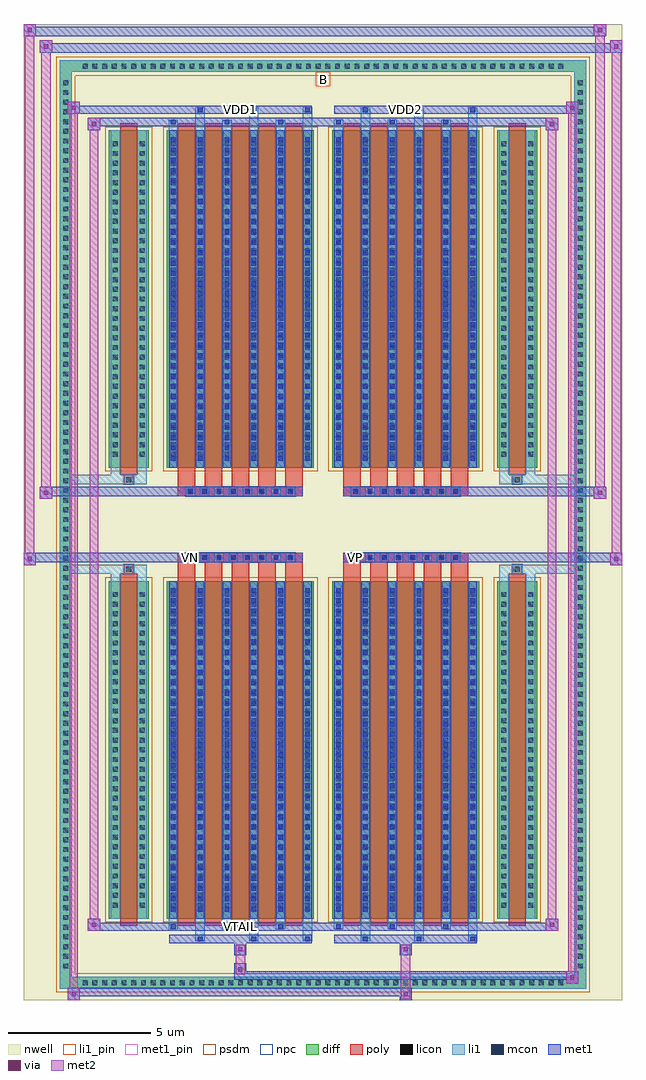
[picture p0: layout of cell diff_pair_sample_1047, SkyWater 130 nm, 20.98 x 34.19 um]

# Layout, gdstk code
import gdstk
lib = gdstk.Library(unit=1e-6, precision=5e-09)
def R(c, l, rs):  # rectangles x0, y0, x1, y1
    for r in rs: c.add(gdstk.rectangle(r[:2], r[2:], *l))
def A(c, l, x, y, w, h, nx, ny, dx, dy):  # array of equal rectangles
    R(c, l, [(x+i*dx, y+j*dy, x+i*dx+w, y+j*dy+h) for i in range(nx) for j in range(ny)])
def P(c, l, *ps):  # polygons
    for p in ps: c.add(gdstk.Polygon(p, *l))
nwell = (64, 20)
diff = (65, 20)
poly = (66, 20)
licon = (66, 44)
li1_pin = (67, 16)
li1 = (67, 20)
mcon = (67, 44)
met1_pin = (68, 16)
met1 = (68, 20)
via = (68, 44)
met2 = (69, 20)
psdm = (94, 20)
npc = (95, 20)

diff_pair_sample_1047 = lib.new_cell('diff_pair_sample_1047')
R(diff_pair_sample_1047, nwell, [(-10.49,-16.66,10.49,17.53), (-7.81,-14.85,-0.01,-0.795), (0.01,-14.85,7.81,-0.795), (-7.81,0.795,-0.01,14.85), (0.01,0.795,7.81,14.85)])
A(diff_pair_sample_1047, diff, -8.535, -16.26, 0.41, 0.41, 50, 2, 0.34, 32.11)
A(diff_pair_sample_1047, diff, -9.22, -15.675, 0.41, 0.41, 1, 92, 0, 0.34)
A(diff_pair_sample_1047, diff, 8.81, -15.675, 0.41, 0.41, 1, 92, 0, 0.34)
R(diff_pair_sample_1047, diff, [(-8.535,-16.26,8.535,-15.85), (-9.22,-15.675,-8.81,15.675), (8.81,-15.675,9.22,15.675), (-7.5,-13.805,-6.11,-1.985), (-5.47,-13.805,-0.32,-1.985), (0.32,-13.805,5.47,-1.985), (6.11,-13.805,7.5,-1.985), (-7.5,1.985,-6.11,13.805), (-5.47,1.985,-0.32,13.805), (0.32,1.985,5.47,13.805), (6.11,1.985,7.5,13.805), (-8.535,15.85,8.535,16.26)])
P(diff_pair_sample_1047, diff, [(9.22,16.26),(-9.22,16.26),(-9.22,-15.85),(-8.81,-15.85),(-8.81,15.85),(8.81,15.85),(8.81,-15.85),(-8.81,-15.85),(-9.22,-15.85),(-9.22,-16.26),(9.22,-16.26)])
A(diff_pair_sample_1047, poly, -5.08, -14.055, 0.61, 12.32, 5, 2, 0.94, 15.79)
A(diff_pair_sample_1047, poly, 0.71, -14.055, 0.61, 12.32, 5, 2, 0.94, 15.79)
A(diff_pair_sample_1047, poly, -5.08, -1.735, 0.61, 0.41, 5, 2, 0.94, 3.06)
A(diff_pair_sample_1047, poly, 0.71, -1.735, 0.61, 0.41, 5, 2, 0.94, 3.06)
A(diff_pair_sample_1047, poly, -4.81, -1.325, 0.33, 0.33, 8, 2, 0.5, 2.32)
A(diff_pair_sample_1047, poly, 0.98, -1.325, 0.33, 0.33, 8, 2, 0.5, 2.32)
R(diff_pair_sample_1047, poly, [(-7.11,-14.055,-6.5,-1.735), (6.5,-14.055,7.11,-1.735), (-6.97,-1.735,-6.64,-1.405), (-6.97,-1.735,-6.64,-1.405), (6.64,-1.735,6.97,-1.405), (6.64,-1.735,6.97,-1.405), (-5.08,-1.325,-0.71,-0.995), (0.71,-1.325,5.08,-0.995), (-5.08,0.995,-0.71,1.325), (0.71,0.995,5.08,1.325), (-6.97,1.405,-6.64,1.735), (-6.97,1.405,-6.64,1.735), (6.64,1.405,6.97,1.735), (6.64,1.405,6.97,1.735), (-7.11,1.735,-6.5,14.055), (6.5,1.735,7.11,14.055)])
A(diff_pair_sample_1047, licon, -8.415, -16.14, 0.17, 0.17, 50, 2, 0.34, 32.11)
A(diff_pair_sample_1047, licon, -9.1, -15.555, 0.17, 0.17, 1, 92, 0, 0.34)
A(diff_pair_sample_1047, licon, 8.93, -15.555, 0.17, 0.17, 1, 92, 0, 0.34)
A(diff_pair_sample_1047, licon, -7.36, -13.42, 0.17, 0.17, 1, 33, 0, 0.34)
A(diff_pair_sample_1047, licon, -6.42, -13.42, 0.17, 0.17, 1, 33, 0, 0.34)
A(diff_pair_sample_1047, licon, -5.33, -13.42, 0.17, 0.17, 6, 33, 0.94, 0.34)
A(diff_pair_sample_1047, licon, 0.46, -13.42, 0.17, 0.17, 6, 33, 0.94, 0.34)
A(diff_pair_sample_1047, licon, 6.25, -13.42, 0.17, 0.17, 1, 33, 0, 0.34)
A(diff_pair_sample_1047, licon, 7.19, -13.42, 0.17, 0.17, 1, 33, 0, 0.34)
A(diff_pair_sample_1047, licon, -4.73, -1.245, 0.17, 0.17, 8, 2, 0.5, 2.32)
A(diff_pair_sample_1047, licon, 1.06, -1.245, 0.17, 0.17, 8, 2, 0.5, 2.32)
A(diff_pair_sample_1047, licon, -7.36, 2.37, 0.17, 0.17, 1, 33, 0, 0.34)
A(diff_pair_sample_1047, licon, -6.42, 2.37, 0.17, 0.17, 1, 33, 0, 0.34)
A(diff_pair_sample_1047, licon, -5.33, 2.37, 0.17, 0.17, 6, 33, 0.94, 0.34)
A(diff_pair_sample_1047, licon, 0.46, 2.37, 0.17, 0.17, 6, 33, 0.94, 0.34)
A(diff_pair_sample_1047, licon, 6.25, 2.37, 0.17, 0.17, 1, 33, 0, 0.34)
A(diff_pair_sample_1047, licon, 7.19, 2.37, 0.17, 0.17, 1, 33, 0, 0.34)
R(diff_pair_sample_1047, licon, [(-6.89,-1.655,-6.72,-1.485), (6.72,-1.655,6.89,-1.485), (-6.89,1.485,-6.72,1.655), (6.72,1.485,6.89,1.655)])
R(diff_pair_sample_1047, li1_pin, [(-0.25,15.35,0.25,15.85)])
A(diff_pair_sample_1047, li1, -8.495, -16.22, 0.33, 0.33, 50, 2, 0.34, 32.11)
A(diff_pair_sample_1047, li1, -9.18, -15.635, 0.33, 0.33, 1, 92, 0, 0.34)
A(diff_pair_sample_1047, li1, 8.85, -15.635, 0.33, 0.33, 1, 92, 0, 0.34)
A(diff_pair_sample_1047, li1, -4.47, -14.61, 0.33, 0.805, 3, 2, 1.88, 28.415)
A(diff_pair_sample_1047, li1, -4.39, -14.61, 0.17, 0.17, 3, 2, 1.88, 29.05)
A(diff_pair_sample_1047, li1, 1.32, -14.61, 0.33, 0.805, 3, 2, 1.88, 28.415)
A(diff_pair_sample_1047, li1, 1.4, -14.61, 0.17, 0.17, 3, 2, 1.88, 29.05)
A(diff_pair_sample_1047, li1, -5.41, -14.18, 0.33, 0.375, 3, 2, 1.88, 27.985)
A(diff_pair_sample_1047, li1, -5.33, -14.18, 0.17, 0.17, 3, 2, 1.88, 28.19)
A(diff_pair_sample_1047, li1, 0.38, -14.18, 0.33, 0.375, 3, 2, 1.88, 27.985)
A(diff_pair_sample_1047, li1, 0.46, -14.18, 0.17, 0.17, 3, 2, 1.88, 28.19)
A(diff_pair_sample_1047, li1, -5.41, -13.805, 0.33, 11.82, 6, 2, 0.94, 15.79)
A(diff_pair_sample_1047, li1, 0.38, -13.805, 0.33, 11.82, 6, 2, 0.94, 15.79)
A(diff_pair_sample_1047, li1, -5.33, -13.56, 0.17, 0.17, 6, 32, 0.94, 0.36)
A(diff_pair_sample_1047, li1, -5.33, -13.56, 0.17, 11.33, 6, 2, 0.94, 15.79)
A(diff_pair_sample_1047, li1, 0.46, -13.56, 0.17, 0.17, 6, 32, 0.94, 0.36)
A(diff_pair_sample_1047, li1, 0.46, -13.56, 0.17, 11.33, 6, 2, 0.94, 15.79)
A(diff_pair_sample_1047, li1, -7.44, -13.5, 0.33, 0.33, 1, 33, 0, 0.34)
A(diff_pair_sample_1047, li1, -6.5, -13.5, 0.33, 0.33, 1, 33, 0, 0.34)
A(diff_pair_sample_1047, li1, -5.41, -13.5, 0.33, 0.33, 6, 33, 0.94, 0.34)
A(diff_pair_sample_1047, li1, 0.38, -13.5, 0.33, 0.33, 6, 33, 0.94, 0.34)
A(diff_pair_sample_1047, li1, 6.17, -13.5, 0.33, 0.33, 1, 33, 0, 0.34)
A(diff_pair_sample_1047, li1, 7.11, -13.5, 0.33, 0.33, 1, 33, 0, 0.34)
A(diff_pair_sample_1047, li1, -4.81, -1.325, 0.33, 0.33, 8, 2, 0.5, 2.32)
A(diff_pair_sample_1047, li1, 0.98, -1.325, 0.33, 0.33, 8, 2, 0.5, 2.32)
A(diff_pair_sample_1047, li1, -5.33, 2.23, 0.17, 0.17, 6, 32, 0.94, 0.36)
A(diff_pair_sample_1047, li1, 0.46, 2.23, 0.17, 0.17, 6, 32, 0.94, 0.36)
A(diff_pair_sample_1047, li1, -7.44, 2.29, 0.33, 0.33, 1, 33, 0, 0.34)
A(diff_pair_sample_1047, li1, -6.5, 2.29, 0.33, 0.33, 1, 33, 0, 0.34)
A(diff_pair_sample_1047, li1, -5.41, 2.29, 0.33, 0.33, 6, 33, 0.94, 0.34)
A(diff_pair_sample_1047, li1, 0.38, 2.29, 0.33, 0.33, 6, 33, 0.94, 0.34)
A(diff_pair_sample_1047, li1, 6.17, 2.29, 0.33, 0.33, 1, 33, 0, 0.34)
A(diff_pair_sample_1047, li1, 7.11, 2.29, 0.33, 0.33, 1, 33, 0, 0.34)
R(diff_pair_sample_1047, li1, [(-9.22,-16.26,-8.81,-15.85), (-9.22,-16.26,-8.81,-15.85), (-8.81,-16.26,8.81,-15.85), (8.81,-16.26,9.22,-15.85), (8.81,-16.26,9.22,-15.85), (-9.22,-15.85,-8.81,15.85), (8.81,-15.85,9.22,15.85), (-7.44,-13.805,-7.11,-1.985), (-6.5,-13.805,-6.17,-1.985), (6.17,-13.805,6.5,-1.985), (7.11,-13.805,7.44,-1.985), (-7.44,-1.985,-7.11,-1.405), (-6.5,-1.985,-6.17,-1.405), (6.17,-1.985,6.5,-1.405), (7.11,-1.985,7.44,-1.405), (-9.22,-1.735,-6.97,-1.405), (-7.44,-1.735,-6.97,-1.405), (-6.97,-1.735,-6.64,-1.405), (-6.64,-1.735,-6.17,-1.405), (6.17,-1.735,6.64,-1.405), (6.64,-1.735,6.97,-1.405), (6.64,-1.735,9.22,-1.405), (6.97,-1.735,7.44,-1.405), (-9.22,1.405,-6.97,1.735), (-7.44,1.405,-6.97,1.735), (-7.44,1.405,-7.11,1.985), (-6.97,1.405,-6.64,1.735), (-6.64,1.405,-6.17,1.735), (-6.5,1.405,-6.17,1.985), (6.17,1.405,6.64,1.735), (6.17,1.405,6.5,1.985), (6.64,1.405,6.97,1.735), (6.64,1.405,9.22,1.735), (6.97,1.405,7.44,1.735), (7.11,1.405,7.44,1.985), (-7.44,1.985,-7.11,13.805), (-6.5,1.985,-6.17,13.805), (6.17,1.985,6.5,13.805), (7.11,1.985,7.44,13.805), (-9.22,15.85,-8.81,16.26), (-9.22,15.85,-8.81,16.26), (-8.81,15.85,8.81,16.26), (8.81,15.85,9.22,16.26), (8.81,15.85,9.22,16.26)])
A(diff_pair_sample_1047, mcon, -4.39, -14.61, 0.17, 0.17, 3, 2, 1.88, 29.05)
A(diff_pair_sample_1047, mcon, 1.4, -14.61, 0.17, 0.17, 3, 2, 1.88, 29.05)
A(diff_pair_sample_1047, mcon, -5.33, -14.18, 0.17, 0.17, 3, 2, 1.88, 28.19)
A(diff_pair_sample_1047, mcon, 0.46, -14.18, 0.17, 0.17, 3, 2, 1.88, 28.19)
A(diff_pair_sample_1047, mcon, -5.33, -13.56, 0.17, 0.17, 6, 32, 0.94, 0.36)
A(diff_pair_sample_1047, mcon, 0.46, -13.56, 0.17, 0.17, 6, 32, 0.94, 0.36)
A(diff_pair_sample_1047, mcon, -4.73, -1.245, 0.17, 0.17, 8, 2, 0.5, 2.32)
A(diff_pair_sample_1047, mcon, 1.06, -1.245, 0.17, 0.17, 8, 2, 0.5, 2.32)
A(diff_pair_sample_1047, mcon, -5.33, 2.23, 0.17, 0.17, 6, 32, 0.94, 0.36)
A(diff_pair_sample_1047, mcon, 0.46, 2.23, 0.17, 0.17, 6, 32, 0.94, 0.36)
R(diff_pair_sample_1047, met1_pin, [(-3.03,-14.22,-2.76,-13.95), (-4.78,-1.285,-4.51,-1.015), (1.01,-1.285,1.28,-1.015), (-3.03,14.4,-2.76,14.67), (2.76,14.4,3.03,14.67)])
A(diff_pair_sample_1047, met1, -4.45, -14.67, 0.29, 0.29, 3, 2, 1.88, 29.05)
A(diff_pair_sample_1047, met1, 1.34, -14.67, 0.29, 0.29, 3, 2, 1.88, 29.05)
A(diff_pair_sample_1047, met1, -5.39, -14.24, 0.29, 0.29, 3, 2, 1.88, 28.19)
A(diff_pair_sample_1047, met1, 0.4, -14.24, 0.29, 0.29, 3, 2, 1.88, 28.19)
A(diff_pair_sample_1047, met1, -5.39, -13.805, 0.29, 11.82, 6, 2, 0.94, 15.79)
A(diff_pair_sample_1047, met1, 0.4, -13.805, 0.29, 11.82, 6, 2, 0.94, 15.79)
A(diff_pair_sample_1047, met1, -5.39, -13.62, 0.29, 0.29, 6, 32, 0.94, 0.36)
A(diff_pair_sample_1047, met1, 0.4, -13.62, 0.29, 0.29, 6, 32, 0.94, 0.36)
A(diff_pair_sample_1047, met1, -4.79, -1.305, 0.29, 0.29, 8, 2, 0.5, 2.32)
A(diff_pair_sample_1047, met1, 1, -1.305, 0.29, 0.29, 8, 2, 0.5, 2.32)
A(diff_pair_sample_1047, met1, -5.39, 2.17, 0.29, 0.29, 6, 32, 0.94, 0.36)
A(diff_pair_sample_1047, met1, 0.4, 2.17, 0.29, 0.29, 6, 32, 0.94, 0.36)
R(diff_pair_sample_1047, met1, [(-8.95,-16.66,-8.52,-16.23), (2.68,-16.66,3.11,-16.23), (-8.95,-16.52,3.11,-16.23), (8.52,-16.09,8.95,-15.66), (-3.11,-15.95,8.95,-15.66), (-3.11,-15.81,-2.68,-15.38), (-3.11,-15.1,-2.68,-14.67), (2.68,-15.1,3.11,-14.67), (-5.39,-14.67,-0.4,-14.38), (0.4,-14.67,5.39,-14.38), (-8.24,-14.24,-7.81,-13.81), (-8.24,-14.24,-5.39,-13.95), (-5.39,-14.24,-0.4,-13.95), (-0.4,-14.24,0.4,-13.95), (0.4,-14.24,5.39,-13.95), (5.39,-14.24,8.24,-13.95), (7.81,-14.24,8.24,-13.81), (-10.49,-1.425,-10.06,-0.995), (10.06,-1.425,10.49,-0.995), (-10.49,-1.325,-0.71,-0.995), (-5.08,-1.325,-0.71,-0.995), (0.71,-1.325,5.08,-0.995), (0.71,-1.325,10.49,-0.995), (-9.92,0.895,-9.49,1.325), (9.49,0.895,9.92,1.325), (-9.92,0.995,-5.08,1.325), (-5.08,0.995,-0.71,1.325), (0.71,0.995,5.08,1.325), (5.08,0.995,9.92,1.325), (-8.24,13.81,-7.81,14.24), (7.81,13.81,8.24,14.24), (-8.24,13.95,-5.39,14.24), (-5.39,13.95,-0.4,14.24), (-0.4,13.95,0.4,14.24), (0.4,13.95,5.39,14.24), (5.39,13.95,8.24,14.24), (-8.95,14.38,-8.52,14.81), (-8.95,14.38,-5.39,14.67), (-5.39,14.38,-0.4,14.67), (0.4,14.38,5.39,14.67), (5.39,14.38,8.95,14.67), (8.52,14.38,8.95,14.81), (-9.92,16.53,-9.49,16.96), (-9.92,16.53,-7.81,16.86), (-7.81,16.53,7.81,16.86), (7.81,16.53,10.49,16.86), (10.06,16.53,10.49,16.96), (-10.49,17.1,-10.06,17.53), (-10.49,17.1,-7.81,17.43), (-7.81,17.1,7.81,17.43), (7.81,17.1,9.92,17.43), (9.49,17.1,9.92,17.53)])
R(diff_pair_sample_1047, via, [(-8.81,-16.52,-8.66,-16.37), (2.82,-16.52,2.97,-16.37), (8.66,-15.95,8.81,-15.8), (-2.97,-15.67,-2.82,-15.52), (-2.97,-14.96,-2.82,-14.81), (2.82,-14.96,2.97,-14.81), (-8.1,-14.1,-7.95,-13.95), (7.95,-14.1,8.1,-13.95), (-10.35,-1.285,-10.2,-1.135), (10.2,-1.285,10.35,-1.135), (-9.78,1.035,-9.63,1.185), (9.63,1.035,9.78,1.185), (-8.1,13.95,-7.95,14.1), (7.95,13.95,8.1,14.1), (-8.81,14.52,-8.66,14.67), (8.66,14.52,8.81,14.67), (-9.78,16.67,-9.63,16.82), (10.2,16.67,10.35,16.82), (-10.35,17.24,-10.2,17.39), (9.63,17.24,9.78,17.39)])
R(diff_pair_sample_1047, met2, [(-8.95,-16.66,-8.52,-16.23), (-8.88,-16.66,-8.59,14.81), (-8.59,-16.66,-8.52,-16.23), (-8.9,-16.61,-8.57,-16.28), (2.73,-16.61,3.06,-16.28), (2.73,-16.28,3.06,-15.05), (8.52,-16.09,8.95,-15.66), (8.59,-16.09,8.88,14.81), (8.88,-16.09,8.95,-15.66), (8.57,-16.04,8.9,-15.71), (-3.06,-15.76,-2.73,-15.43), (-3.06,-15.43,-2.73,-15.05), (-3.06,-15.05,-2.73,-14.72), (2.73,-15.05,3.06,-14.72), (-8.24,-14.24,-7.81,-13.81), (-8.17,-14.24,-7.88,14.24), (-7.88,-14.24,-7.81,-13.81), (7.81,-14.24,8.24,-13.81), (7.88,-14.24,8.17,14.24), (8.17,-14.24,8.24,-13.81), (-8.19,-14.19,-7.86,-13.86), (7.86,-14.19,8.19,-13.86), (-10.49,-1.425,-10.06,-0.995), (-10.44,-1.425,-10.11,17.53), (-10.11,-1.425,-10.06,-0.995), (10.06,-1.425,10.49,-0.995), (10.11,-1.425,10.44,16.96), (10.44,-1.425,10.49,-0.995), (-10.44,-1.375,-10.11,-1.045), (10.11,-1.375,10.44,-1.045), (-9.92,0.895,-9.49,1.325), (-9.87,0.895,-9.54,16.96), (-9.54,0.895,-9.49,1.325), (9.49,0.895,9.92,1.325), (9.54,0.895,9.87,17.53), (9.87,0.895,9.92,1.325), (-9.87,0.945,-9.54,1.275), (9.54,0.945,9.87,1.275), (-8.24,13.81,-7.81,14.24), (-7.88,13.81,-7.81,14.24), (7.81,13.81,8.24,14.24), (8.17,13.81,8.24,14.24), (-8.19,13.86,-7.86,14.19), (7.86,13.86,8.19,14.19), (-8.95,14.38,-8.52,14.81), (-8.59,14.38,-8.52,14.81), (8.52,14.38,8.95,14.81), (8.88,14.38,8.95,14.81), (-8.9,14.43,-8.57,14.76), (8.57,14.43,8.9,14.76), (-9.92,16.53,-9.49,16.96), (-9.54,16.53,-9.49,16.96), (10.06,16.53,10.49,16.96), (10.44,16.53,10.49,16.96), (-9.87,16.58,-9.54,16.91), (10.11,16.58,10.44,16.91), (-10.49,17.1,-10.06,17.53), (-10.11,17.1,-10.06,17.53), (9.49,17.1,9.92,17.53), (9.87,17.1,9.92,17.53), (-10.44,17.15,-10.11,17.48), (9.54,17.15,9.87,17.48)])
R(diff_pair_sample_1047, psdm, [(-7.63,-13.935,-5.98,-1.855), (-5.6,-13.935,-0.19,-1.855), (0.19,-13.935,5.6,-1.855), (5.98,-13.935,7.63,-1.855), (-7.63,1.855,-5.98,13.935), (-5.6,1.855,-0.19,13.935), (0.19,1.855,5.6,13.935), (5.98,1.855,7.63,13.935)])
P(diff_pair_sample_1047, psdm, [(9.35,16.39),(-9.35,16.39),(-9.35,-15.72),(-8.68,-15.72),(-8.68,15.72),(8.68,15.72),(8.68,-15.72),(-8.68,-15.72),(-9.35,-15.72),(-9.35,-16.39),(9.35,-16.39)])
A(diff_pair_sample_1047, npc, -4.83, -1.345, 0.37, 0.37, 8, 2, 0.5, 2.32)
A(diff_pair_sample_1047, npc, 0.96, -1.345, 0.37, 0.37, 8, 2, 0.5, 2.32)
R(diff_pair_sample_1047, npc, [(-6.99,-1.755,-6.62,-1.385), (6.62,-1.755,6.99,-1.385), (-4.83,-1.345,-3.96,-0.975), (-4.83,-1.345,-3.96,-0.975), (-4.33,-1.345,-3.46,-0.975), (-4.33,-1.345,-3.46,-0.975), (-3.83,-1.345,-2.96,-0.975), (-3.83,-1.345,-2.96,-0.975), (-3.33,-1.345,-2.46,-0.975), (-3.33,-1.345,-2.46,-0.975), (-2.83,-1.345,-1.96,-0.975), (-2.83,-1.345,-1.96,-0.975), (-2.33,-1.345,-1.46,-0.975), (-2.33,-1.345,-1.46,-0.975), (-1.83,-1.345,-0.96,-0.975), (-1.83,-1.345,-0.96,-0.975), (0.96,-1.345,1.83,-0.975), (0.96,-1.345,1.83,-0.975), (1.46,-1.345,2.33,-0.975), (1.46,-1.345,2.33,-0.975), (1.96,-1.345,2.83,-0.975), (1.96,-1.345,2.83,-0.975), (2.46,-1.345,3.33,-0.975), (2.46,-1.345,3.33,-0.975), (2.96,-1.345,3.83,-0.975), (2.96,-1.345,3.83,-0.975), (3.46,-1.345,4.33,-0.975), (3.46,-1.345,4.33,-0.975), (3.96,-1.345,4.83,-0.975), (3.96,-1.345,4.83,-0.975), (-4.83,0.975,-3.96,1.345), (-4.83,0.975,-3.96,1.345), (-4.33,0.975,-3.46,1.345), (-4.33,0.975,-3.46,1.345), (-3.83,0.975,-2.96,1.345), (-3.83,0.975,-2.96,1.345), (-3.33,0.975,-2.46,1.345), (-3.33,0.975,-2.46,1.345), (-2.83,0.975,-1.96,1.345), (-2.83,0.975,-1.96,1.345), (-2.33,0.975,-1.46,1.345), (-2.33,0.975,-1.46,1.345), (-1.83,0.975,-0.96,1.345), (-1.83,0.975,-0.96,1.345), (0.96,0.975,1.83,1.345), (0.96,0.975,1.83,1.345), (1.46,0.975,2.33,1.345), (1.46,0.975,2.33,1.345), (1.96,0.975,2.83,1.345), (1.96,0.975,2.83,1.345), (2.46,0.975,3.33,1.345), (2.46,0.975,3.33,1.345), (2.96,0.975,3.83,1.345), (2.96,0.975,3.83,1.345), (3.46,0.975,4.33,1.345), (3.46,0.975,4.33,1.345), (3.96,0.975,4.83,1.345), (3.96,0.975,4.83,1.345), (-6.99,1.385,-6.62,1.755), (6.62,1.385,6.99,1.755)])
diff_pair_sample_1047.add(gdstk.Label('VTAIL', (-2.895,-14.085), layer=68, texttype=5))
diff_pair_sample_1047.add(gdstk.Label('VN', (-4.645,-1.15), layer=68, texttype=5))
diff_pair_sample_1047.add(gdstk.Label('VP', (1.145,-1.15), layer=68, texttype=5))
diff_pair_sample_1047.add(gdstk.Label('B', (0,15.6), layer=67, texttype=5))
diff_pair_sample_1047.add(gdstk.Label('VDD2', (2.895,14.535), layer=68, texttype=5))
diff_pair_sample_1047.add(gdstk.Label('VDD1', (-2.895,14.535), layer=68, texttype=5))

lib.write_gds('diff_pair_sample_1047.gds')
